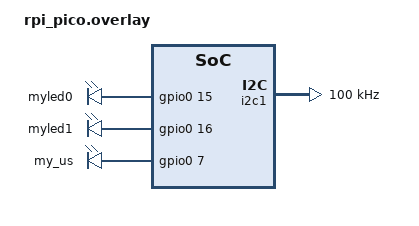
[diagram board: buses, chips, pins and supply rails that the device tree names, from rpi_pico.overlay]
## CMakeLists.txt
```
# SPDX-License-Identifier: Apache-2.0
cmake_minimum_required(VERSION 3.20.0)

# For the sake of demonstration, we add the driver directory as a zephyr module
# by hand. If your driver is a project that's managed by west, you can remove this line.
list(APPEND ZEPHYR_EXTRA_MODULES
  ${CMAKE_CURRENT_SOURCE_DIR}/drivers/adxl345
  ${CMAKE_CURRENT_SOURCE_DIR}/drivers/bme680
  ${CMAKE_CURRENT_SOURCE_DIR}/drivers/ultrasonic
  )

# Select our board 
set(BOARD rpi_pico)

# For using west flash with picoprobe
set(OPENOCD "/usr/local/bin/openocd")
set(OPENOCD_DEFAULT_PATH "/usr/local/share/openocd/scripts")
set(RPI_PICO_DEBUG_ADAPTER "picoprobe")

find_package(Zephyr REQUIRED HINTS $ENV{ZEPHYR_BASE})


# This is only used by IntelliSense inside VS Code 
set(CMAKE_EXPORT_COMPILE_COMMANDS ON)

# Project name
project(sensor-node LANGUAGES C VERSION 0.0.1)

# Add the include directory
zephyr_include_directories(include)

# Add source files
FILE(GLOB SRC_FILES "src/*.c")
target_sources(app PRIVATE ${SRC_FILES})
```

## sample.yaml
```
# sample:
#   description: Sample that uses an out-of-tree driver
#   name: Out-of-tree driver
# tests:
#   sample.drivers.out_of_tree:
#     integration_platforms:
#       - native_posix
#     tags: out_of_tree
#     harness: console
#     harness_config:
#       type: multi_line
#       regex:
#         - "Hello World from the app!"
#         - "device is (.*), name is CUSTOM_DRIVER"
#         - "Hello World from the kernel: 5"
```

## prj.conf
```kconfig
CONFIG_APPLICATION_DEFINED_SYSCALL=y
CONFIG_BME680=y
CONFIG_ADXL345=y
CONFIG_ULTRASONIC=y
CONFIG_GPIO=y
CONFIG_I2C=y
CONFIG_I2C_TARGET=y

CONFIG_LOG=y
CONFIG_CBPRINTF_FP_SUPPORT=y
CONFIG_LOG_BACKEND_SHOW_COLOR=y
CONFIG_LOG_INFO_COLOR_GREEN=y


CONFIG_NEWLIB_LIBC=y
CONFIG_NEWLIB_LIBC_FLOAT_PRINTF=y

CONFIG_USE_SWITCH=y
CONFIG_SMP=y
CONFIG_SCHED_CPU_MASK=y
CONFIG_I2C_CALLBACK=y



CONFIG_SERIAL=y
CONFIG_CONSOLE=y
CONFIG_UART_CONSOLE=y
CONFIG_UART_LINE_CTRL=y
```

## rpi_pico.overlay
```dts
#include <zephyr/dt-bindings/pinctrl/rpi-pico-rp2040-pinctrl.h>

/ {
    aliases {
               led0 = &myled0;
               led1 = &myled1;
               
    };

    leds {
            compatible = "gpio-leds";
            myled0: led_0 {
                    gpios = <&gpio0 15 GPIO_ACTIVE_HIGH>;
            };
            myled1: led_1 {
                    gpios = <&gpio0 16 GPIO_ACTIVE_HIGH>;
            };
    };

    
    sensors {
        compatible = "gpio-leds";
        my_us: us0 {
            gpios = <&gpio0 7 GPIO_ACTIVE_HIGH>; // sig
            status = "okay";
        };
    };
};

// TODO add pin to connect master through i2c 1
&pinctrl {
    i2c1_default: i2c1_default {
        group1 {
            pinmux = <I2C1_SDA_P26>, <I2C1_SCL_P27>;
            input-enable;
            input-schmitt-enable;
            bias-pull-up; // ENABLE PULL UP
        };
    };
};
&i2c1 {
    clock-frequency = <I2C_BITRATE_STANDARD>;
    status = "okay";
    pinctrl-0 = <&i2c1_default>;
    pinctrl-names = "default";
};
```

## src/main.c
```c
#include "sample.h"
#include "i2c_slave.h"

#include <zephyr/kernel.h>
#include <zephyr/device.h>
#include <zephyr/drivers/i2c.h>
#include <zephyr/devicetree.h>
#include <zephyr/drivers/gpio.h>
#include <stdlib.h>

#define LED0_NODE DT_ALIAS(led0)
#define LED1_NODE DT_ALIAS(led1)

#define MY_STACK_SIZE 5000
#define MY_PRIORITY   5

#define REFRESH_TIME 500

LOG_MODULE_REGISTER(main);

K_THREAD_STACK_DEFINE(i2c_stack, MY_STACK_SIZE);
K_THREAD_STACK_DEFINE(sensor_polling_stack, MY_STACK_SIZE);

struct k_thread polling_thread, i2c_thread;

struct gpio_dt_spec led0 = GPIO_DT_SPEC_GET(LED0_NODE, gpios);
struct gpio_dt_spec led1 = GPIO_DT_SPEC_GET(LED1_NODE, gpios);

sensor_tree_t sensor_tree = {
	.int_src = NONE
};

void print_sensors_value()
{
	LOG_INF("T: %f P: %f H: %f", sensor_tree.bme680_device.last_temperature,
		sensor_tree.bme680_device.last_pressure, sensor_tree.bme680_device.last_humidity);
	LOG_INF("X: %f Y: %f Z: %f ", sensor_tree.adxl345_device.x_acceleration,
		sensor_tree.adxl345_device.y_acceleration,
		sensor_tree.adxl345_device.z_acceleration);
	LOG_INF("Distance: %f", sensor_tree.ultrasonic_device.distance);
}

void sensor_polling(void *p1, void *p2, void *p3)
{
	bme680_manager_t *bme680 = &sensor_tree.bme680_device;
	adxl345_manager_t *adxl345 = &sensor_tree.adxl345_device;
	ultrasonic_manager_t *ultr = &sensor_tree.ultrasonic_device;
	gpio_pin_configure_dt(&led0, GPIO_OUTPUT_INACTIVE);

	adxl345_constructor(adxl345);
	adxl345_set_fifo_mode(adxl345, STREAM);
	adxl345_set_range(adxl345, R_16G);
	adxl345_set_frequency(adxl345, HZ_25);
	adxl345_set_measurement_mode(adxl345);
	adxl345_chip_id(adxl345);

	bme680_constructor(bme680);
	ultrasonic_init(ultr);
	while (true) {
		print_sensors_value();
		gpio_pin_toggle_dt(&led0);
		k_sleep(K_MSEC(REFRESH_TIME));

		bme680_read_sensors(bme680);
		adxl345_read_xyz_axis(adxl345);
		ultrasonic_duration(ultr);
		// check the values to trigger an interrupt on the driver
		if (sensor_tree.int_src == NONE) {
			if (bme680->last_temperature > bme680->temp_thresh) {
				k_sem_give(&(bme680->bme_sem));
			}
			if (bme680->last_humidity > bme680->hum_thresh) {
				k_sem_give(&(bme680->bme_sem));
			}
			if (bme680->last_pressure > bme680->press_thresh) {
				k_sem_give(&(bme680->bme_sem));
			}
			if (ultr->distance < ultr->trigger_threshold) {
				k_sem_give(&(ultr->us_sem));
			}
			if (abs(adxl345->x_acceleration) > adxl345->acceleration_threshold ||
			    abs(adxl345->y_acceleration) > adxl345->acceleration_threshold ||
			    abs(adxl345->z_acceleration) > adxl345->acceleration_threshold) {
				k_sem_give(&(adxl345->adxl_sem));
			}
		}
		gpio_pin_toggle_dt(&led0);
	}
}

void i2c_communication_target(void *p1, void *p2, void *p3)
{
	bme680_manager_t *bme680 = &sensor_tree.bme680_device;
	adxl345_manager_t *adxl345 = &sensor_tree.adxl345_device;
	ultrasonic_manager_t *ultr = &sensor_tree.ultrasonic_device;
	int err = 0;
	err = slave_init(&sensor_tree);
	if (err != 0) {
		LOG_ERR("Failed initilize slave %d", err);
		return;
	}
	gpio_pin_configure_dt(&led1, GPIO_OUTPUT_INACTIVE); // INTERRUPT PIN
	while (true) {
		if (k_sem_take(&(bme680->bme_sem), K_NO_WAIT) == 0) {
			// Interrupt from BME
			if (bme680->last_temperature > bme680->temp_thresh) {
				LOG_WRN("Temp above threshold {%f} [%f]", bme680->last_temperature, bme680->temp_thresh);
				sensor_tree.int_src = TEMPERATURE;
			} else if (bme680->last_humidity > bme680->hum_thresh) {
				LOG_WRN("Hum above threshold {%f} [%f]", bme680->last_humidity, bme680->hum_thresh);
				sensor_tree.int_src = HUMIDITY;
			} else if (bme680->last_pressure > bme680->press_thresh) {
				LOG_WRN("Press above threshold {%f} [%f]", bme680->last_pressure, bme680->press_thresh);
				sensor_tree.int_src = PRESSURE;
			}
			gpio_pin_set_dt(&led1, 1);
			continue;
		}
		if (k_sem_take(&(adxl345->adxl_sem), K_NO_WAIT) == 0) {
			LOG_WRN("ADXL above threshold");
			if (abs(adxl345->x_acceleration) > adxl345->acceleration_threshold ||
			    abs(adxl345->y_acceleration) > adxl345->acceleration_threshold ||
			    abs(adxl345->z_acceleration) > adxl345->acceleration_threshold) {
				sensor_tree.int_src = ACCELERATION;
			}
			gpio_pin_set_dt(&led1, 1);
			continue;
		}
		if (k_sem_take(&(ultr->us_sem), K_NO_WAIT) == 0){
			LOG_WRN("DIST above threshold");
			if (ultr->distance < ultr->trigger_threshold) {
				sensor_tree.int_src = DISTANCE;
			}
			gpio_pin_set_dt(&led1, 1);
			continue;
		}
		k_sleep(K_MSEC(REFRESH_TIME));
		gpio_pin_set_dt(&led1, 0);
	}
}

void main(void)
{
	k_tid_t i2c_thread_tid = k_thread_create(
		&i2c_thread, i2c_stack, K_THREAD_STACK_SIZEOF(i2c_stack), i2c_communication_target,
		NULL, NULL, NULL, MY_PRIORITY, K_INHERIT_PERMS, K_FOREVER);
	k_tid_t polling_thread_tid = k_thread_create(
		&polling_thread, sensor_polling_stack, K_THREAD_STACK_SIZEOF(sensor_polling_stack),
		sensor_polling, NULL, NULL, NULL, MY_PRIORITY, K_INHERIT_PERMS, K_FOREVER);

	k_thread_cpu_pin((k_tid_t)&polling_thread_tid, 0);
	k_thread_cpu_pin((k_tid_t)&i2c_thread_tid, 1);

	k_thread_start(i2c_thread_tid);
	k_thread_start(polling_thread_tid);
}
```

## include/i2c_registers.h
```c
#ifndef I2C_REGISTERS_H
#define I2C_REGISTERS_H

#define SENSOR_ID  0x03 // 1 byte RO
#define INT_ENABLE 0x04 // 1 byte RW
#define INT_SOURCE 0x05 // 1 byte RW

// TEST REGISTER
// read: 1x8bytes(double)
#define TEST_READ_DOUBLE 0x10
#define TEST_READ_SCALE	 0x20

// ADXL345
// BME680
// read: 3x4 bytes (float) xyz
#define ADXL345_READ_X 0xA0 // until 0x53
#define ADXL345_READ_Y 0xB0 // until 0x63
#define ADXL345_READ_Z 0xC0 // until 0x73

// BME680
// read: 3x8 bytes (double) temperature, pressure, humidity
// configuration: 3x1byte (uint8_t) sampling rate for temperature, pressure, humidity
#define BME680_READ_TEMP     0x50 // until 0x57
#define BME680_READ_PRESSURE 0x60 // until 0x67
#define BME680_READ_HUMIDITY 0x70 // until 0x77

#define BME680_CONFIG_TEMP     0x5A
#define BME680_CONFIG_PRESSURE 0x6A
#define BME680_CONFIG_HUMIDITY 0x7A

#define TEMP_UP_TRIGGER 0x30 // (8 bytes) 30-31-32-33-34-35-36-37
#define HUM_UP_TRIGGER 0x38 // (8 bytes) 38-39-3A-3B-3C-3D-3E-3F
#define PRES_UP_TRIGGER 0x40 // (8 bytes) 40-41-42-43-44-45-46-47
#define ACCEL_UP_TRIGGER 0x48 // (4 bytes) 48-49-4A-4B

// ULTRASONIC
// read: 1x4bytes (float) distance in cm
// configuration 1x1byte (uint8_t) polling rate (not implemented)
#define ULTRASONIC_READ	   0x80 // until 0x83

#endif
```

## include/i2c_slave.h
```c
#ifndef I2C_SLAVE_H
#define I2C_SLAVE_H

#include "i2c_registers.h"
#include "bme680.h"
#include "adxl345.h"
#include "ultrasonic.h"

#include <zephyr/device.h>
#include <zephyr/drivers/i2c.h>
#include <zephyr/logging/log.h>

#include <stdint.h>

#define SENSOR_NODE_ADDR 0x40

typedef enum int_source_t
{
	NONE,
	HUMIDITY,
	TEMPERATURE,
	PRESSURE,
	DISTANCE,
	ACCELERATION
} int_source_t;

typedef struct i2c_slave_manager_t
{
	bool first_write;
	bool read_started;
	uint8_t start_address;
	uint8_t remaining_bytes;
	uint8_t* buffer;
	uint8_t w_idx;
	uint8_t write_buffer[32];
} i2c_slave_manager_t;

typedef struct sensor_tree_t {
	bme680_manager_t bme680_device;
	adxl345_manager_t adxl345_device;
	ultrasonic_manager_t ultrasonic_device;
	int_source_t int_src;
} sensor_tree_t;

int slave_init(sensor_tree_t *sensor_tree);

#endif
```

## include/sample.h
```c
#ifndef SAMPLE_H
#define SAMPLE_H

#include <zephyr/logging/log.h>

#include <stdio.h>

#define TEXT "HELLO"

void greet(void);

int add(int a, int b);

#endif
```

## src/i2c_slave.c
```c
#include "i2c_slave.h"

#include <errno.h>

LOG_MODULE_REGISTER(slave, LOG_LEVEL_INF);

const uint8_t SENSOR_NODE_ID = 0xAA;

static sensor_tree_t *sensor_tree;

const struct device *i2c_dev = DEVICE_DT_GET(DT_NODELABEL(i2c1));
uint32_t i2c_speed_cfg = I2C_SPEED_SET(I2C_SPEED_STANDARD);

uint8_t send_buffer = 0x00;
uint8_t left_to_send = 0;
uint8_t *address_to_next = NULL;

uint8_t register_writing_address = 0xFF;
bool last_instruction_is_write = false;
uint8_t writing_mode = 0;

double test_value_double = 0.5; // this is because I don't have a real sensor yet
uint64_t test_value_scale = 0x1122334455667788;

static i2c_slave_manager_t slave_manager = {.first_write = false,
					    .read_started = false,
					    .remaining_bytes = 0,
					    .buffer = NULL,
					    .w_idx = 0,
					    .write_buffer = {0}};

static void i2c_load_next_streamed_value()
{
	if (left_to_send > 0) {
		send_buffer = *((uint8_t *)address_to_next);
		address_to_next++;
		left_to_send--;
	} else {
		send_buffer = 0xFF;
	}
}

static void i2c_write_register(uint8_t value)
{
	LOG_DBG("Writing register %02x WITH VALUE %02x", register_writing_address, value);

	switch (register_writing_address) {
	case BME680_CONFIG_HUMIDITY:
		sensor_tree->bme680_device.hum_oversampling = value << HUM_SHIFT;
		break;
	case BME680_CONFIG_TEMP:
		sensor_tree->bme680_device.temp_oversampling = value << TEMP_SHIFT;
		LOG_DBG("Writing %d", value);
		break;
	case BME680_CONFIG_PRESSURE:
		sensor_tree->bme680_device.press_oversampling = value << PRESS_SHIFT;
		break;
	default:
		LOG_DBG("UNKNOWN REGISTER");
		break;
	}
	writing_mode += 1;
}

// typedef int (*i2c_target_write_requested_cb_t)(struct i2c_target_config *config);
/**
 * @brief Write initiate by the Master, R/W bit = 0. An address will be received.
 *
 * @param config
 * @return int
 */
static int our_i2c_write_requested(struct i2c_target_config *config)
{
	LOG_DBG("i2c_write_requested");

	slave_manager.first_write = true;

	return 0;
}

// typedef int (*i2c_target_write_received_cb_t)( struct i2c_target_config *config, uint8_t val);
/**
 * @brief The Master send the value to write. If first, it's the register address that want to
 * access.
 *
 * @param config
 * @param val
 * @return int
 */
static int our_i2c_write_received(struct i2c_target_config *config, uint8_t val)
{
	LOG_DBG("i2c_write_received [0x%02X]", val);
	int err = 0;
	if (slave_manager.first_write) {
		slave_manager.first_write = false;
		slave_manager.start_address = val;
	} else // it's a write
	{
		LOG_DBG("W 0x%02X to 0x%02X", val, slave_manager.start_address);
		switch (slave_manager.start_address) {
		case BME680_CONFIG_HUMIDITY:
			sensor_tree->bme680_device.hum_oversampling = val << HUM_SHIFT;
			break;
		case BME680_CONFIG_TEMP:
			sensor_tree->bme680_device.temp_oversampling = val << TEMP_SHIFT;
			break;
		case BME680_CONFIG_PRESSURE:
			sensor_tree->bme680_device.press_oversampling = val << PRESS_SHIFT;
			break;
		case INT_SOURCE:
			sensor_tree->int_src = val;
			break;
		case TEMP_UP_TRIGGER:
			slave_manager.write_buffer[slave_manager.w_idx++] = val;
			break;
		case HUM_UP_TRIGGER:
			slave_manager.write_buffer[slave_manager.w_idx++] = val;
			break;
		case PRES_UP_TRIGGER:
			slave_manager.write_buffer[slave_manager.w_idx++] = val;
			break;
		case ACCEL_UP_TRIGGER:
			slave_manager.write_buffer[slave_manager.w_idx++] = val;
			break;
		// TODO Add more
		default:
			LOG_DBG("UNKNOWN REGISTER");
			err = -ENXIO;
			break;
		}
	}
	return err;
}

void load_data(i2c_slave_manager_t *slave_manager)
{
	// LOG_INF("addr: [0x%02X]", slave_manager->start_address)
	switch (slave_manager->start_address) {
	case SENSOR_ID:
		slave_manager->buffer = (uint8_t *)&SENSOR_NODE_ID;
		slave_manager->remaining_bytes = sizeof(SENSOR_NODE_ID);
		break;
	case INT_ENABLE: // FIXME
		slave_manager->buffer = (uint8_t *)&SENSOR_NODE_ID;
		slave_manager->remaining_bytes = sizeof(SENSOR_NODE_ID);
		break;
	case INT_SOURCE:
		slave_manager->buffer = (uint8_t *)&(sensor_tree->int_src);
		slave_manager->remaining_bytes = sizeof(sensor_tree->int_src);
		break;
	case BME680_READ_TEMP:
		slave_manager->buffer = (uint8_t *)&(sensor_tree->bme680_device.last_temperature);
		slave_manager->remaining_bytes =
			sizeof(sensor_tree->bme680_device.last_temperature);
		break;
	case BME680_READ_PRESSURE:
		slave_manager->buffer = (uint8_t *)&(sensor_tree->bme680_device.last_pressure);
		slave_manager->remaining_bytes = sizeof(sensor_tree->bme680_device.last_pressure);
		break;
	case BME680_READ_HUMIDITY:
		slave_manager->buffer = (uint8_t *)&(sensor_tree->bme680_device.last_humidity);
		slave_manager->remaining_bytes = sizeof(sensor_tree->bme680_device.last_humidity);
		break;

	case ULTRASONIC_READ:
		slave_manager->buffer = (uint8_t *)&(sensor_tree->ultrasonic_device.distance);
		slave_manager->remaining_bytes = sizeof(sensor_tree->ultrasonic_device.distance);
		break;

	case ADXL345_READ_X:
		slave_manager->buffer = (uint8_t *)&(sensor_tree->adxl345_device.x_acceleration);
		slave_manager->remaining_bytes = sizeof(sensor_tree->adxl345_device.x_acceleration);
		break;

	case ADXL345_READ_Y:
		slave_manager->buffer = (uint8_t *)&(sensor_tree->adxl345_device.y_acceleration);
		slave_manager->remaining_bytes = sizeof(sensor_tree->adxl345_device.y_acceleration);
		break;

	case ADXL345_READ_Z:
		slave_manager->buffer = (uint8_t *)&(sensor_tree->adxl345_device.z_acceleration);
		slave_manager->remaining_bytes = sizeof(sensor_tree->adxl345_device.z_acceleration);
		break;

	case BME680_CONFIG_HUMIDITY:
		slave_manager->buffer = (uint8_t *)&(sensor_tree->bme680_device.hum_oversampling);
		slave_manager->remaining_bytes =
			sizeof(sensor_tree->bme680_device.hum_oversampling);
		break;

	case BME680_CONFIG_PRESSURE:
		slave_manager->buffer = (uint8_t *)&(sensor_tree->bme680_device.press_oversampling);
		slave_manager->remaining_bytes =
			sizeof(sensor_tree->bme680_device.press_oversampling);
		break;

	case BME680_CONFIG_TEMP:
		slave_manager->buffer = (uint8_t *)&(sensor_tree->bme680_device.temp_oversampling);
		slave_manager->remaining_bytes =
			sizeof(sensor_tree->bme680_device.temp_oversampling);
		break;

	case TEMP_UP_TRIGGER:
		slave_manager->buffer = (uint8_t *)&(sensor_tree->bme680_device.temp_thresh);
		slave_manager->remaining_bytes = sizeof(sensor_tree->bme680_device.temp_thresh);
		break;
	case HUM_UP_TRIGGER:
		slave_manager->buffer = (uint8_t *)&(sensor_tree->bme680_device.hum_thresh);
		slave_manager->remaining_bytes = sizeof(sensor_tree->bme680_device.hum_thresh);
		break;
	case PRES_UP_TRIGGER:
		slave_manager->buffer = (uint8_t *)&(sensor_tree->bme680_device.press_thresh);
		slave_manager->remaining_bytes = sizeof(sensor_tree->bme680_device.press_thresh);
		break;
	case ACCEL_UP_TRIGGER:
		slave_manager->buffer = (uint8_t *)&(sensor_tree->adxl345_device.acceleration_threshold);
		slave_manager->remaining_bytes = sizeof(sensor_tree->adxl345_device.acceleration_threshold);
		break;
	default:
		break;
	}
	LOG_HEXDUMP_DBG(slave_manager->buffer, slave_manager->remaining_bytes, "mngr");
}

// typedef int (*i2c_target_read_requested_cb_t)(struct i2c_target_config *config, uint8_t *val);
static int our_i2c_read_requested(struct i2c_target_config *config, uint8_t *val)
{
	LOG_DBG("i2c_read_requested");
	if (slave_manager.read_started == false) {
		slave_manager.read_started = true;
		load_data(&slave_manager);
	}
	*val = *(slave_manager.buffer);
	LOG_DBG("0x%02X", *(slave_manager.buffer));
	return 0;
}

// typedef int (*i2c_target_read_processed_cb_t)(struct i2c_target_config *config, uint8_t *val);
static int our_i2c_read_processed(struct i2c_target_config *config, uint8_t *val)
{
	LOG_DBG("i2c_read_processed");
	LOG_DBG("0x%02X", *(slave_manager.buffer));
	if (slave_manager.remaining_bytes == 0) {
		*val = *(slave_manager.buffer);
		return 0;
	}
	*val = *(slave_manager.buffer);
	slave_manager.buffer++;
	slave_manager.remaining_bytes--;
	return 0;
}
// typedef int (*i2c_target_stop_cb_t)(struct i2c_target_config *config);
static int our_i2c_stop(struct i2c_target_config *config)
{
	LOG_DBG("i2c_stop\n");
	LOG_DBG("Stop op on [0x%02X]", slave_manager.start_address);
	LOG_HEXDUMP_DBG(slave_manager.write_buffer, slave_manager.w_idx, "");
	switch (slave_manager.start_address) {
	case TEMP_UP_TRIGGER:
		memcpy(&(sensor_tree->bme680_device.temp_thresh), slave_manager.write_buffer,
		       slave_manager.w_idx);
		LOG_INF("New T threshold: %f", sensor_tree->bme680_device.temp_thresh);
		break;
	case HUM_UP_TRIGGER:
		memcpy(&(sensor_tree->bme680_device.hum_thresh), slave_manager.write_buffer,
		       slave_manager.w_idx);
		LOG_INF("New H threshold: %f", sensor_tree->bme680_device.hum_thresh);
		break;
	case PRES_UP_TRIGGER:
		memcpy(&(sensor_tree->bme680_device.press_thresh), slave_manager.write_buffer,
		       slave_manager.w_idx);
		LOG_INF("New P threshold: %f", sensor_tree->bme680_device.press_thresh);
		break;
	case ACCEL_UP_TRIGGER:
		memcpy(&(sensor_tree->adxl345_device.acceleration_threshold),
		       slave_manager.write_buffer, slave_manager.w_idx);
		LOG_INF("New ACC threshold: %f",
			sensor_tree->adxl345_device.acceleration_threshold);
		break;
	default:
		break;
	}
	LOG_DBG("Completed %s on addr [0x%02X]", (slave_manager.read_started ? "READ" : "WRITE"),
		slave_manager.start_address);
	slave_manager.w_idx = 0;
	slave_manager.first_write = true;
	slave_manager.read_started = false;
	return 0;
}

/* SLAVE INITIALIZATION */

static struct i2c_target_callbacks sn_i2c_cbs = {
	.write_requested =
		our_i2c_write_requested, // typedef int (*i2c_target_write_requested_cb_t)(struct
					 // i2c_target_config *config);
	.read_requested =
		our_i2c_read_requested, // typedef int (*i2c_target_read_requested_cb_t)(struct
					// i2c_target_config *config, uint8_t *val);
	.write_received = our_i2c_write_received, // typedef int (*i2c_target_write_received_cb_t)(
						  // struct i2c_target_config *config, uint8_t val);
	.read_processed =
		our_i2c_read_processed, // typedef int (*i2c_target_read_processed_cb_t)(struct
					// i2c_target_config *config, uint8_t *val);
	.stop = our_i2c_stop // typedef int (*i2c_target_stop_cb_t)(struct i2c_target_config
			     // *config);
};

static struct i2c_target_config i2c_cfg = {
	.address = SENSOR_NODE_ADDR, /* The target address on the bus */
	.flags = 0,		     /* No flags */
	.callbacks = &sn_i2c_cbs};

int slave_init(sensor_tree_t *sensors)
{
	int ret = 0;
	if (!device_is_ready(i2c_dev)) {
		LOG_ERR("I2C device not ready");
		return ret;
	}

	ret = i2c_configure(i2c_dev, i2c_speed_cfg);
	if (ret < 0) {
		LOG_ERR("Failed to configure I2C: %d", ret);
		return ret;
	}

	LOG_DBG("Speed: %d", I2C_SPEED_GET(i2c_speed_cfg));

	/* Enable I2C target mode for the bus driver */
	ret = i2c_target_register(i2c_dev, &i2c_cfg);
	if (ret < 0) {
		LOG_ERR("Failed to enable I2C target mode: %d", ret);
		return ret;
	}
	// add sensor reference
	if (sensors != NULL) {
		sensor_tree = sensors;
	}
	return ret;
}
```

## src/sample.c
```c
#include "sample.h"

void greet()
{
	printf("%s\n", TEXT);
}

int add(int a, int b)
{
    return a + b;
}
```
